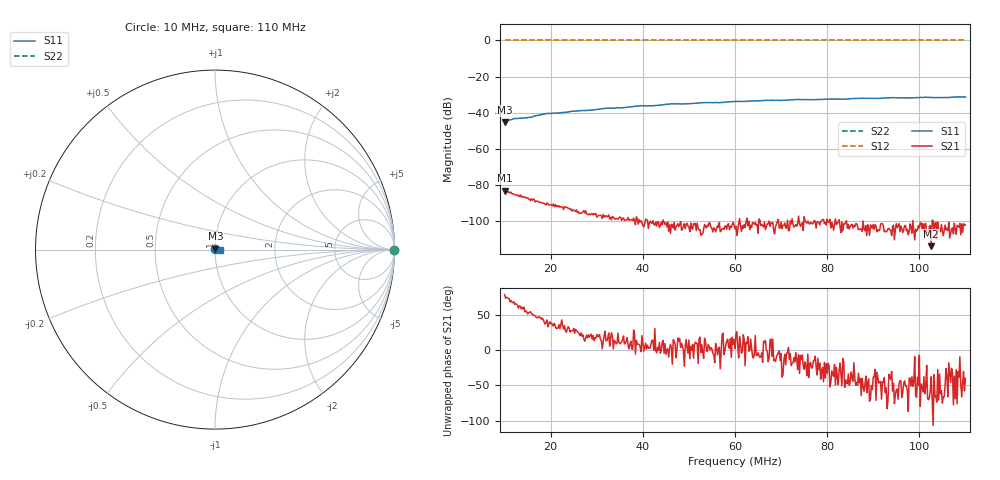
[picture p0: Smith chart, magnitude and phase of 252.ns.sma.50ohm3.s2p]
! Anritsu VNA Master:  Model: MS2036C/10/77
! SN:  1601066
! /card0/usr/50ohm3.s2p
! Existing Calibration Information:
! TYPE:  Current Settings,  Active Cal Settings
! TIME:  12/20/2017 04:14:44 PM,  12/20/2017 04:05:21 PM
! INTERNAL TEMP:  42.3 C,  43.3 C
! # POINTS:  501,  501
! START FREQ:  10.000 MHz,  10.000 MHz
! STOP FREQ:  110.000 MHz,  110.000 MHz
! SOURCE POWER:  High,  High
! IFBW:  100 Hz,  100 Hz
! AVG FACTOR:  1 ,  1
! REF PLANE 1:  0 mm,  0 mm
! REF PLANE 2:  0 mm,  0 mm
! CAL TYPE:  Full S11,  Full S11
! CAL METHOD:  SOLT,  SOLT
! CAL LINE TYPE:  Coax,  Coax
! DUT PORT 1:  K-Conn(F),  K-Conn(F)
! DUT PORT 2:  K-Conn(F),  K-Conn(F)
! CAL STATUS:  OK: Accuracy High,  --
# GHZ S DB R 50.0
! FREQ.GHZ  S11DB  S11A  S21DB  S21A  S12DB  S12A  S22DB  S22A
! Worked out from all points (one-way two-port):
!   501 points, 10 MHz to 110 MHz, reference 50 ohm
!   highest |S21| = -83.22 dB at 10 MHz (marker M1); lowest = -114.0 dB at 102.6 MHz (marker M2)
!   lowest |S11| = -45.5 dB at 10 MHz (marker M3), VSWR 1.01, Z = 50.3 + j0.463 ohm
!   |S11| at or under -10 dB: start of sweep to end of sweep
!   |S22| runs from 0.0 to 0.0 dB; largest |S21 - S12| = 1
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0.01  -45.45 59.5  -83.22 78.8  0.00 0.0  0.00 0.0
0.012  -43.37 61.5  -85.28 68.6  0.00 0.0  0.00 0.0
0.0156  -42.58 58.9  -88.73 54.5  0.00 0.0  0.00 0.0
0.019  -40.66 57.8  -91.16 39.6  0.00 0.0  0.00 0.0
0.0218  -40.20 57.1  -91.59 36.2  0.00 0.0  0.00 0.0
0.0248  -39.23 54.8  -93.92 27.4  0.00 0.0  0.00 0.0
0.0268  -38.83 54.4  -95.67 19.8  0.00 0.0  0.00 0.0
0.0294  -38.46 51.8  -95.96 13.6  0.00 0.0  0.00 0.0
0.032  -37.56 50.5  -97.11 13.1  0.00 0.0  0.00 0.0
0.0354  -37.33 48.6  -99.80 11.5  0.00 0.0  0.00 0.0
0.0392  -36.36 45.4  -99.38 7.5  0.00 0.0  0.00 0.0
0.0434  -35.90 42.0  -100.74 -0.2  0.00 0.0  0.00 0.0
0.0462  -35.14 41.6  -101.90 3.3  0.00 0.0  0.00 0.0
0.0498  -35.10 39.5  -102.87 -4.3  0.00 0.0  0.00 0.0
0.0534  -34.47 37.8  -102.00 16.8  0.00 0.0  0.00 0.0
0.0568  -34.39 35.0  -106.00 -26.6  0.00 0.0  0.00 0.0
0.06  -33.88 33.2  -104.45 2.3  0.00 0.0  0.00 0.0
0.0736  -32.71 25.3  -101.31 -27.5  0.00 0.0  0.00 0.0
0.0768  -32.77 23.1  -101.72 -25.4  0.00 0.0  0.00 0.0
0.0934  -31.86 10.3  -104.11 -34.3  0.00 0.0  0.00 0.0
0.1026  -31.60 5.6  -114.01 -37.8  0.00 0.0  0.00 0.0
0.11  -31.36 0.1  -102.26 -39.9  0.00 0.0  0.00 0.0
